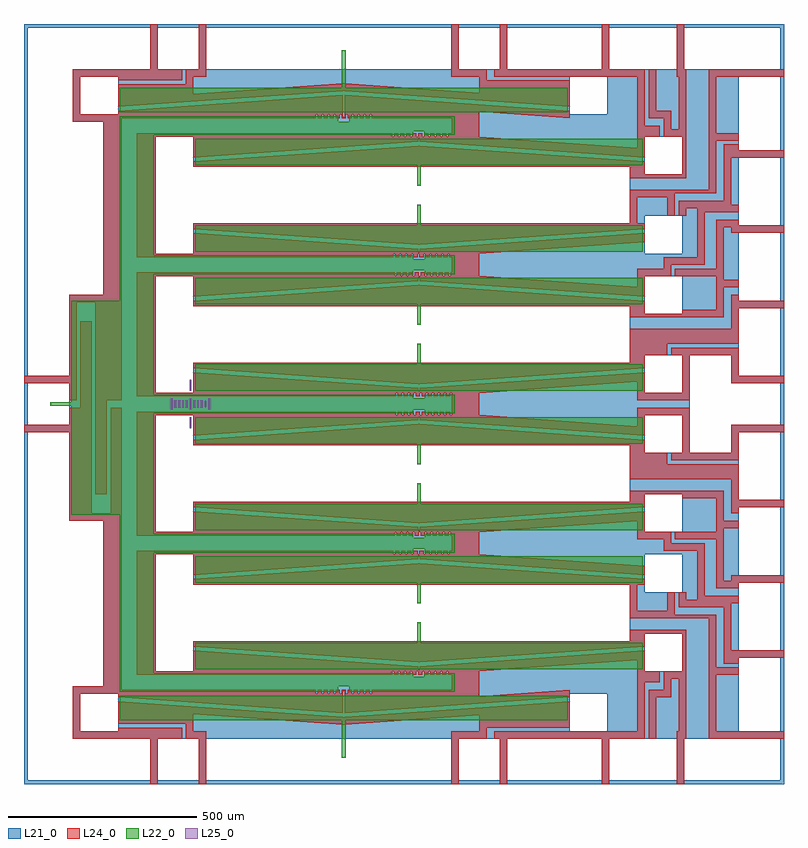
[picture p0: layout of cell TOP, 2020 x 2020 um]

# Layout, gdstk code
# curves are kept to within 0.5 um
import gdstk
lib = gdstk.Library(unit=1e-6, precision=1e-09)
def R(c, l, rs):  # rectangles x0, y0, x1, y1
    for r in rs: c.add(gdstk.rectangle(r[:2], r[2:], *l))
def A(c, l, x, y, w, h, nx, ny, dx, dy):  # array of equal rectangles
    R(c, l, [(x+i*dx, y+j*dy, x+i*dx+w, y+j*dy+h) for i in range(nx) for j in range(ny)])
def P(c, l, *ps):  # polygons
    for p in ps: c.add(gdstk.Polygon(p, *l))
L21_0 = (21, 0)
L22_0 = (22, 0)
L24_0 = (24, 0)
L25_0 = (25, 0)

top = lib.new_cell('TOP')
P(top, L21_0, [(190,190),(190,1125),(200,1125),(200,200),(525,200),(525,310),(545,310),(545,200),(655,200),(655,310),(675,310),(675,200),(1325,200),(1325,310),(1345,310),(1345,200),(1455,200),(1455,310),(1475,310),(1475,200),(1725,200),(1725,310),(1745,310),(1745,200),(1925,200),(1925,310),(1945,310),(1945,200),(2200,200),(2200,310),(320,310),(320,430),(340,430),(340,330),(440,330),(440,430),(1640,430),(1640,330),(1740,330),(1740,430),(320,430),(320,450),(400,450),(400,800),(540,800),(540,490),(640,490),(640,570),(1800,570),(1800,590),(1840,590),(1840,490),(1940,490),(1940,525),(2090,525),(2090,330),(2200,330),(2200,525),(1940,525),(1940,590),(1800,590),(1800,720),(640,720),(640,800),(1840,800),(1840,700),(1940,700),(1940,725),(2090,725),(2090,545),(2200,545),(2200,725),(1940,725),(1940,800),(400,800),(400,890),(310,890),(310,1125),(190,1125),(190,1255),(200,1255),(200,1145),(310,1145),(310,1170),(540,1170),(540,860),(640,860),(640,940),(1800,940),(1800,960),(1840,960),(1840,860),(1940,860),(1940,925),(2090,925),(2090,745),(2200,745),(2200,925),(1940,925),(1940,960),(1800,960),(1800,1090),(640,1090),(640,1170),(1840,1170),(1840,1070),(1940,1070),(1940,1170),(310,1170),(310,1255),(190,1255),(190,2200),(200,2200),(200,1275),(310,1275),(310,1490),(400,1490),(400,1540),(540,1540),(540,1230),(640,1230),(640,1310),(1800,1310),(1800,1330),(1840,1330),(1840,1230),(1940,1230),(1940,1330),(1960,1330),(1960,1070),(2070,1070),(2070,1125),(2090,1125),(2090,945),(2200,945),(2200,1125),(2070,1125),(2070,1145),(2200,1145),(2200,1255),(2070,1255),(2070,1330),(1800,1330),(1800,1460),(640,1460),(640,1540),(1840,1540),(1840,1440),(1940,1440),(1940,1455),(2090,1455),(2090,1275),(2200,1275),(2200,1455),(1940,1455),(1940,1540),(400,1540),(400,1910),(540,1910),(540,1600),(640,1600),(640,1680),(1800,1680),(1800,1700),(1840,1700),(1840,1600),(1940,1600),(1940,1655),(2090,1655),(2090,1475),(2200,1475),(2200,1655),(1940,1655),(1940,1700),(1800,1700),(1800,1830),(640,1830),(640,1910),(1840,1910),(1840,1810),(1940,1810),(1940,1855),(2090,1855),(2090,1675),(2200,1675),(2200,1855),(1940,1855),(1940,1910),(400,1910),(400,1950),(320,1950),(320,2070),(340,2070),(340,1970),(440,1970),(440,2070),(1640,2070),(1640,1970),(1740,1970),(1740,2070),(2090,2070),(2090,1875),(2200,1875),(2200,2070),(320,2070),(320,2090),(525,2090),(525,2200),(545,2200),(545,2090),(655,2090),(655,2200),(675,2200),(675,2090),(1325,2090),(1325,2200),(1345,2200),(1345,2090),(1455,2090),(1455,2200),(1475,2200),(1475,2090),(1725,2090),(1725,2200),(1745,2200),(1745,2090),(1925,2090),(1925,2200),(1945,2200),(1945,2090),(2200,2090),(2200,2200),(190,2200),(190,2210),(2210,2210),(2210,190)])
P(top, L22_0, [(445,435),(445,905),(315,905),(315,1195),(260,1195),(260,1205),(315,1205),(315,1475),(445,1475),(445,1965),(535,1965),(535,1964.5),(1025,1964.5),(1025,1950),(1055,1950),(1055,1965),(1335,1965),(1335,1915),(1253.7,1915),(1253.7,1925),(1225,1925),(1225,1915),(535,1915),(535,1595),(1225,1595),(1225,1585),(1255,1585),(1255,1595),(1335,1595),(1335,1545),(1255,1545),(1255,1555),(1225,1555),(1225,1545),(535,1545),(535,1225),(1225,1225),(1225,1215),(1255,1215),(1255,1225),(1335,1225),(1335,1175),(1255,1175),(1255,1185),(1225,1185),(1225,1175),(535,1175),(535,855),(1225,855),(1225,845),(1255,845),(1255,855),(1335,855),(1335,805),(1255,805),(1255,815),(1225,815),(1225,805),(535,805),(535,485),(1225,485),(1225,475),(1253.7,475),(1253.7,485),(1335,485),(1335,435),(1055,435),(1055,450),(1025,450),(1025,435.5),(535,435.5),(535,435)],
  [(1035,260),(1035,360),(445,360),(445,425),(1635,425),(1635,360),(1045,360),(1045,260)],
  [(445,1975),(445,2040),(1035,2040),(1035,2140),(1045,2140),(1045,2040),(1635,2040),(1635,1975)],
  [(645,495),(645,565),(1235,565),(1235,620),(1245,620),(1245,565),(1835,565),(1835,495)],
  [(1235,670),(1235,725),(645,725),(645,795),(1835,795),(1835,725),(1245,725),(1245,670)],
  [(645,865),(645,935),(1235,935),(1235,990),(1245,990),(1245,935),(1835,935),(1835,865)],
  [(1235,1040),(1235,1095),(645,1095),(645,1165),(1835,1165),(1835,1095),(1245,1095),(1245,1040)],
  [(645,1235),(645,1305),(1235,1305),(1235,1360),(1245,1360),(1245,1305),(1835,1305),(1835,1235)],
  [(1235,1410),(1235,1465),(645,1465),(645,1535),(1835,1535),(1835,1465),(1245,1465),(1245,1410)],
  [(645,1605),(645,1675),(1235,1675),(1235,1730),(1245,1730),(1245,1675),(1835,1675),(1835,1605)],
  [(1235,1780),(1235,1835),(645,1835),(645,1905),(1835,1905),(1835,1835),(1245,1835),(1245,1780)])
P(top, L24_0, [(525,190),(525,310),(320,310),(320,450),(400,450),(400,890),(310,890),(310,1125),(190,1125),(190,1145),(310,1145),(310,1190),(340,1190),(340,1420),(370,1420),(370,910),(420,910),(420,1190),(450,1190),(450,440),(965.5,440),(965.555,431.975),(966.399,430.579),(967.924,430),(969.482,430.485),(970.409,431.828),(970.5,440),(981.5,440),(981.559,431.954),(982.346,430.624),(983.921,430),(985.406,430.431),(986.402,431.802),(986.5,440),(997.5,440),(997.559,431.954),(998.346,430.624),(999.921,430),(1001.406,430.431),(1002.402,431.802),(1002.5,440),(1013.5,440),(1013.555,431.975),(1014.399,430.579),(1015.924,430),(1017.482,430.485),(1018.409,431.828),(1018.5,440),(1029.5,440),(1029.555,431.975),(1030.399,430.579),(1031.924,430),(1033.482,430.485),(1034.409,431.828),(1034.5,440),(1045.5,440),(1045.555,431.975),(1046.399,430.579),(1047.924,430),(1049.482,430.485),(1050.409,431.828),(1050.5,440),(1061.5,440),(1061.555,431.975),(1062.399,430.579),(1063.924,430),(1065.482,430.485),(1066.409,431.828),(1066.5,440),(1077.5,440),(1077.555,431.975),(1078.399,430.579),(1079.924,430),(1081.482,430.485),(1082.409,431.828),(1082.5,440),(1093.5,440),(1093.555,431.975),(1094.399,430.579),(1095.924,430),(1097.406,430.431),(1098.402,431.802),(1098.5,440),(1109.5,440),(1109.555,431.975),(1110.399,430.579),(1111.924,430),(1113.406,430.431),(1114.402,431.802),(1114.5,440),(1327.3,440),(1327.3,480),(1317.7,480),(1317.645,488.025),(1316.801,489.421),(1315.276,490),(1313.794,489.569),(1312.798,488.198),(1312.7,480),(1301.7,480),(1301.641,488.046),(1300.854,489.376),(1299.279,490),(1297.794,489.569),(1296.798,488.198),(1296.7,480),(1285.7,480),(1285.641,488.046),(1284.854,489.376),(1283.279,490),(1281.794,489.569),(1280.798,488.198),(1280.7,480),(1269.7,480),(1269.645,488.025),(1268.801,489.421),(1267.276,490),(1265.794,489.569),(1264.798,488.198),(1264.7,480),(1253.7,480),(1253.641,488.046),(1252.854,489.376),(1251.279,490),(1249.718,489.515),(1248.791,488.172),(1248.7,480),(1237.7,480),(1237.645,488.025),(1236.801,489.421),(1235.276,490),(1233.794,489.569),(1232.798,488.198),(1232.7,480),(1221.7,480),(1221.645,488.025),(1220.801,489.421),(1219.276,490),(1217.794,489.569),(1216.798,488.198),(1216.7,480),(1205.7,480),(1205.645,488.025),(1204.801,489.421),(1203.276,490),(1201.794,489.569),(1200.798,488.198),(1200.7,480),(1189.7,480),(1189.645,488.025),(1188.801,489.421),(1187.276,490),(1185.794,489.569),(1184.798,488.198),(1184.7,480),(1173.7,480),(1173.645,488.025),(1172.801,489.421),(1171.276,490),(1169.794,489.569),(1168.798,488.198),(1168.7,480),(490,480),(490,810),(1171.9,810),(1171.955,801.975),(1172.799,800.579),(1174.324,800),(1175.806,800.431),(1176.802,801.802),(1176.9,810),(1187.9,810),(1187.955,801.975),(1188.799,800.579),(1190.324,800),(1191.806,800.431),(1192.802,801.802),(1192.9,810),(1203.9,810),(1203.959,801.954),(1204.746,800.624),(1206.321,800),(1207.806,800.431),(1208.802,801.802),(1208.9,810),(1219.9,810),(1219.955,801.975),(1220.799,800.579),(1222.324,800),(1223.806,800.431),(1224.802,801.802),(1224.9,810),(1235.9,810),(1235.959,801.954),(1236.746,800.624),(1238.321,800),(1239.882,800.485),(1240.809,801.828),(1240.9,810),(1251.9,810),(1251.955,801.975),(1252.799,800.579),(1254.324,800),(1255.806,800.431),(1256.802,801.802),(1256.9,810),(1267.9,810),(1267.959,801.954),(1268.746,800.624),(1270.321,800),(1271.806,800.431),(1272.802,801.802),(1272.9,810),(1283.9,810),(1283.959,801.954),(1284.746,800.624),(1286.321,800),(1287.806,800.431),(1288.802,801.802),(1288.9,810),(1299.9,810),(1299.955,801.975),(1300.799,800.579),(1302.324,800),(1303.882,800.485),(1304.809,801.828),(1304.9,810),(1315.9,810),(1315.955,801.975),(1316.799,800.579),(1318.324,800),(1319.882,800.485),(1320.809,801.828),(1320.9,810),(1327.3,810),(1327.3,850),(1324.1,850),(1324.041,858.046),(1323.254,859.376),(1321.679,860),(1320.118,859.515),(1319.191,858.172),(1319.1,850),(1308.1,850),(1308.045,858.025),(1307.201,859.421),(1305.676,860),(1304.118,859.515),(1303.191,858.172),(1303.1,850),(1292.1,850),(1292.041,858.046),(1291.254,859.376),(1289.679,860),(1288.118,859.515),(1287.191,858.172),(1287.1,850),(1276.1,850),(1276.041,858.046),(1275.254,859.376),(1273.679,860),(1272.194,859.569),(1271.198,858.198),(1271.1,850),(1260.1,850),(1260.045,858.025),(1259.201,859.421),(1257.676,860),(1256.194,859.569),(1255.198,858.198),(1255.1,850),(1244.1,850),(1244.045,858.025),(1243.201,859.421),(1241.676,860),(1240.194,859.569),(1239.198,858.198),(1239.1,850),(1228.1,850),(1228.045,858.025),(1227.201,859.421),(1225.676,860),(1224.194,859.569),(1223.198,858.198),(1223.1,850),(1212.1,850),(1212.045,858.025),(1211.201,859.421),(1209.676,860),(1208.194,859.569),(1207.198,858.198),(1207.1,850),(1196.1,850),(1196.041,858.046),(1195.254,859.376),(1193.679,860),(1192.118,859.515),(1191.191,858.172),(1191.1,850),(1180.1,850),(1180.045,858.025),(1179.201,859.421),(1177.676,860),(1176.118,859.515),(1175.191,858.172),(1175.1,850),(490,850),(490,1180),(1178.3,1180),(1178.355,1171.975),(1179.199,1170.579),(1180.724,1170),(1182.206,1170.431),(1183.202,1171.802),(1183.3,1180),(1194.3,1180),(1194.355,1171.975),(1195.199,1170.579),(1196.724,1170),(1198.206,1170.431),(1199.202,1171.802),(1199.3,1180),(1210.3,1180),(1210.355,1171.975),(1211.199,1170.579),(1212.724,1170),(1214.206,1170.431),(1215.202,1171.802),(1215.3,1180),(1226.3,1180),(1226.355,1171.975),(1227.199,1170.579),(1228.724,1170),(1230.206,1170.431),(1231.202,1171.802),(1231.3,1180),(1242.3,1180),(1242.359,1171.954),(1243.146,1170.624),(1244.721,1170),(1246.282,1170.485),(1247.209,1171.828),(1247.3,1180),(1258.3,1180),(1258.359,1171.954),(1259.146,1170.624),(1260.721,1170),(1262.206,1170.431),(1263.202,1171.802),(1263.3,1180),(1274.3,1180),(1274.355,1171.975),(1275.199,1170.579),(1276.724,1170),(1278.206,1170.431),(1279.202,1171.802),(1279.3,1180),(1290.3,1180),(1290.359,1171.954),(1291.146,1170.624),(1292.721,1170),(1294.206,1170.431),(1295.202,1171.802),(1295.3,1180),(1306.3,1180),(1306.355,1171.975),(1307.199,1170.579),(1308.724,1170),(1310.206,1170.431),(1311.202,1171.802),(1311.3,1180),(1322.3,1180),(1322.7,1171.142),(1325.498,1170.098),(1327.3,1172.421),(1327.3,1227.576),(1326.621,1229.214),(1324.876,1230),(1323.394,1229.569),(1322.398,1228.198),(1322.3,1220),(1311.3,1220),(1311.245,1228.025),(1310.401,1229.421),(1308.876,1230),(1307.318,1229.515),(1306.391,1228.172),(1306.3,1220),(1295.3,1220),(1295.245,1228.025),(1294.401,1229.421),(1292.876,1230),(1291.318,1229.515),(1290.391,1228.172),(1290.3,1220),(1279.3,1220),(1279.245,1228.025),(1278.401,1229.421),(1276.876,1230),(1275.394,1229.569),(1274.398,1228.198),(1274.3,1220),(1263.3,1220),(1263.245,1228.025),(1262.401,1229.421),(1260.876,1230),(1259.394,1229.569),(1258.398,1228.198),(1258.3,1220),(1247.3,1220),(1247.245,1228.025),(1246.401,1229.421),(1244.876,1230),(1243.394,1229.569),(1242.398,1228.198),(1242.3,1220),(1231.3,1220),(1231.245,1228.025),(1230.401,1229.421),(1228.876,1230),(1227.394,1229.569),(1226.398,1228.198),(1226.3,1220),(1215.3,1220),(1215.241,1228.046),(1214.454,1229.376),(1212.879,1230),(1211.394,1229.569),(1210.398,1228.198),(1210.3,1220),(1199.3,1220),(1199.245,1228.025),(1198.401,1229.421),(1196.876,1230),(1195.394,1229.569),(1194.398,1228.198),(1194.3,1220),(1183.3,1220),(1183.245,1228.025),(1182.401,1229.421),(1180.876,1230),(1179.318,1229.515),(1178.391,1228.172),(1178.3,1220),(490,1220),(490,1550),(1175.1,1550),(1175.155,1541.975),(1175.999,1540.579),(1177.524,1540),(1179.082,1540.485),(1180.009,1541.828),(1180.1,1550),(1191.1,1550),(1191.155,1541.975),(1191.999,1540.579),(1193.524,1540),(1195.082,1540.485),(1196.009,1541.828),(1196.1,1550),(1207.1,1550),(1207.155,1541.975),(1207.999,1540.579),(1209.524,1540),(1211.082,1540.485),(1212.009,1541.828),(1212.1,1550),(1223.1,1550),(1223.159,1541.954),(1223.946,1540.624),(1225.521,1540),(1227.082,1540.485),(1228.009,1541.828),(1228.1,1550),(1239.1,1550),(1239.155,1541.975),(1239.999,1540.579),(1241.524,1540),(1243.006,1540.431),(1244.002,1541.802),(1244.1,1550),(1255.1,1550),(1255.159,1541.954),(1255.946,1540.624),(1257.521,1540),(1259.006,1540.431),(1260.002,1541.802),(1260.1,1550),(1271.1,1550),(1271.159,1541.954),(1271.946,1540.624),(1273.521,1540),(1275.006,1540.431),(1276.002,1541.802),(1276.1,1550),(1287.1,1550),(1287.159,1541.954),(1287.946,1540.624),(1289.521,1540),(1291.006,1540.431),(1292.002,1541.802),(1292.1,1550),(1303.1,1550),(1303.155,1541.975),(1303.999,1540.579),(1305.524,1540),(1307.082,1540.485),(1308.009,1541.828),(1308.1,1550),(1319.1,1550),(1319.191,1541.828),(1320.118,1540.485),(1321.676,1540),(1323.201,1540.579),(1324.045,1541.975),(1324.1,1550),(1327.3,1550),(1327.3,1590),(1320.9,1590),(1320.841,1598.046),(1320.054,1599.376),(1318.479,1600),(1316.994,1599.569),(1315.998,1598.198),(1315.9,1590),(1304.9,1590),(1304.845,1598.025),(1304.001,1599.421),(1302.476,1600),(1300.994,1599.569),(1299.998,1598.198),(1299.9,1590),(1288.9,1590),(1288.845,1598.025),(1288.001,1599.421),(1286.476,1600),(1284.918,1599.515),(1283.991,1598.172),(1283.9,1590),(1272.9,1590),(1272.845,1598.025),(1272.001,1599.421),(1270.476,1600),(1268.994,1599.569),(1267.998,1598.198),(1267.9,1590),(1256.9,1590),(1256.841,1598.046),(1256.054,1599.376),(1254.479,1600),(1252.994,1599.569),(1251.998,1598.198),(1251.9,1590),(1240.9,1590),(1240.841,1598.046),(1240.054,1599.376),(1238.479,1600),(1236.918,1599.515),(1235.991,1598.172),(1235.9,1590),(1224.9,1590),(1224.841,1598.046),(1224.054,1599.376),(1222.479,1600),(1220.994,1599.569),(1219.998,1598.198),(1219.9,1590),(1208.9,1590),(1208.841,1598.046),(1208.054,1599.376),(1206.479,1600),(1204.994,1599.569),(1203.998,1598.198),(1203.9,1590),(1192.9,1590),(1192.841,1598.046),(1192.054,1599.376),(1190.479,1600),(1188.994,1599.569),(1187.998,1598.198),(1187.9,1590),(1176.9,1590),(1176.841,1598.046),(1176.054,1599.376),(1174.479,1600),(1172.994,1599.569),(1171.998,1598.198),(1171.9,1590),(490,1590),(490,1920),(1168.7,1920),(1168.759,1911.954),(1169.546,1910.624),(1171.121,1910),(1172.606,1910.431),(1173.602,1911.802),(1173.7,1920),(1184.7,1920),(1184.755,1911.975),(1185.599,1910.579),(1187.124,1910),(1188.606,1910.431),(1189.602,1911.802),(1189.7,1920),(1200.7,1920),(1200.755,1911.975),(1201.599,1910.579),(1203.124,1910),(1204.606,1910.431),(1205.602,1911.802),(1205.7,1920),(1216.7,1920),(1216.755,1911.975),(1217.599,1910.579),(1219.124,1910),(1220.606,1910.431),(1221.602,1911.802),(1221.7,1920),(1232.7,1920),(1232.755,1911.975),(1233.599,1910.579),(1235.124,1910),(1236.606,1910.431),(1237.602,1911.802),(1237.7,1920),(1248.7,1920),(1248.759,1911.954),(1249.546,1910.624),(1251.121,1910),(1252.606,1910.431),(1253.602,1911.802),(1253.7,1920),(1264.7,1920),(1264.755,1911.975),(1265.599,1910.579),(1267.124,1910),(1268.606,1910.431),(1269.602,1911.802),(1269.7,1920),(1280.7,1920),(1280.755,1911.975),(1281.599,1910.579),(1283.124,1910),(1284.682,1910.485),(1285.609,1911.828),(1285.7,1920),(1296.7,1920),(1296.755,1911.975),(1297.599,1910.579),(1299.124,1910),(1300.606,1910.431),(1301.602,1911.802),(1301.7,1920),(1312.7,1920),(1312.791,1911.828),(1313.718,1910.485),(1315.279,1910),(1316.854,1910.624),(1317.641,1911.954),(1317.7,1920),(1327.3,1920),(1327.3,1960),(1114.5,1960),(1114.445,1968.025),(1113.601,1969.421),(1112.076,1970),(1110.594,1969.569),(1109.598,1968.198),(1109.5,1960),(1098.5,1960),(1098.441,1968.046),(1097.654,1969.376),(1096.079,1970),(1094.594,1969.569),(1093.598,1968.198),(1093.5,1960),(1082.5,1960),(1082.441,1968.046),(1081.654,1969.376),(1080.079,1970),(1078.594,1969.569),(1077.598,1968.198),(1077.5,1960),(1066.5,1960),(1066.445,1968.025),(1065.601,1969.421),(1064.076,1970),(1062.594,1969.569),(1061.598,1968.198),(1061.5,1960),(1050.5,1960),(1050.441,1968.046),(1049.654,1969.376),(1048.079,1970),(1046.594,1969.569),(1045.598,1968.198),(1045.5,1960),(1034.5,1960),(1034.445,1968.025),(1033.601,1969.421),(1032.076,1970),(1030.594,1969.569),(1029.598,1968.198),(1029.5,1960),(1018.5,1960),(1018.441,1968.046),(1017.654,1969.376),(1016.079,1970),(1014.594,1969.569),(1013.598,1968.198),(1013.5,1960),(1002.5,1960),(1002.445,1968.025),(1001.601,1969.421),(1000.076,1970),(998.518,1969.515),(997.591,1968.172),(997.5,1960),(986.5,1960),(986.441,1968.046),(985.654,1969.376),(984.079,1970),(982.518,1969.515),(981.591,1968.172),(981.5,1960),(970.5,1960),(970.441,1968.046),(969.654,1969.376),(968.079,1970),(966.594,1969.569),(965.598,1968.198),(965.5,1960),(450,1960),(450,1210),(410,1210),(410,960),(380,960),(380,1470),(330,1470),(330,1210),(310,1210),(310,1255),(190,1255),(190,1275),(310,1275),(310,1490),(400,1490),(400,1950),(320,1950),(320,2090),(525,2090),(525,2210),(545,2210),(545,2090),(610,2090),(610,2060),(440,2060),(440,2070),(340,2070),(340,1970),(440,1970),(440,1980),(1037.5,2021.781),(1037.5,1965.424),(1038.399,1963.579),(1040.235,1963.01),(1041.769,1963.731),(1042.5,1965.421),(1042.5,2021.781),(1640,1980),(1640,1960),(1400,1976.782),(1400,1910.838),(1820,1881.468),(1820,2070),(1440,2070),(1440,2090),(1455,2090),(1455,2210),(1475,2210),(1475,2090),(1725,2090),(1725,2210),(1745,2210),(1745,2090),(1840,2090),(1840,1940),(1880,1940),(1880,1910),(1840,1910),(1840,1855.07),(1242.5,1896.851),(1242.445,1905.025),(1241.601,1906.421),(1240.076,1907),(1238.518,1906.515),(1237.591,1905.172),(1237.5,1896.851),(640,1855.07),(640,1910),(540,1910),(540,1600),(640,1600),(640,1654.93),(1237.5,1613.149),(1237.559,1604.954),(1238.346,1603.624),(1239.921,1603),(1241.533,1603.524),(1242.441,1604.954),(1242.5,1613.149),(1840,1654.93),(1840,1629.93),(1400,1599.162),(1400,1540.838),(1820,1511.468),(1820,1560),(1890,1560),(1890,1590),(1980,1590),(1980,1720),(1950,1720),(1950,1700),(1930,1700),(1930,1740),(2050,1740),(2050,1890),(2090,1890),(2090,1875),(2210,1875),(2210,1855),(2070,1855),(2070,1730),(2090,1730),(2090,1710),(2000,1710),(2000,1570),(1910,1570),(1910,1540),(1840,1540),(1840,1485.07),(1242.5,1526.851),(1242.445,1535.025),(1241.601,1536.421),(1240.076,1537),(1238.467,1536.476),(1237.559,1535.046),(1237.5,1526.851),(640,1485.07),(640,1540),(540,1540),(540,1230),(640,1230),(640,1284.93),(1237.5,1243.149),(1237.559,1234.954),(1238.346,1233.624),(1239.921,1233),(1241.482,1233.485),(1242.409,1234.828),(1242.5,1243.149),(1840,1284.93),(1840,1230),(1940,1230),(1940,1330),(1910,1330),(1910,1350),(2090,1350),(2090,1275),(2210,1275),(2210,1255),(2070,1255),(2070,1330),(1960,1330),(1960,1210),(1820,1210),(1820,1258.532),(1400,1229.162),(1400,1170.838),(1820,1141.468),(1820,1190),(1960,1190),(1960,1070),(2070,1070),(2070,1145),(2210,1145),(2210,1125),(2090,1125),(2090,1050),(1910,1050),(1910,1070),(1940,1070),(1940,1170),(1840,1170),(1840,1115.07),(1242.5,1156.851),(1242.445,1165.025),(1241.601,1166.421),(1240.076,1167),(1238.518,1166.515),(1237.591,1165.172),(1237.5,1156.851),(640,1115.07),(640,1170),(540,1170),(540,860),(640,860),(640,914.93),(1237.5,873.149),(1237.559,864.954),(1238.346,863.624),(1239.921,863),(1241.482,863.485),(1242.409,864.828),(1242.5,873.149),(1840,914.93),(1840,860),(1910,860),(1910,830),(2000,830),(2000,690),(2090,690),(2090,670),(2070,670),(2070,545),(2210,545),(2210,525),(2090,525),(2090,510),(2050,510),(2050,660),(1930,660),(1930,700),(1950,700),(1950,680),(1980,680),(1980,810),(1890,810),(1890,840),(1820,840),(1820,888.532),(1400,859.162),(1400,800.838),(1840,770.07),(1840,745.07),(1242.5,786.851),(1242.445,795.025),(1241.601,796.421),(1240.076,797),(1238.518,796.515),(1237.591,795.172),(1237.5,786.851),(640,745.07),(640,800),(540,800),(540,490),(640,490),(640,544.93),(1237.5,503.149),(1237.555,494.975),(1238.399,493.579),(1239.924,493),(1241.533,493.524),(1242.441,494.954),(1242.5,503.149),(1840,544.93),(1840,490),(1880,490),(1880,460),(1840,460),(1840,310),(1745,310),(1745,190),(1725,190),(1725,310),(1475,310),(1475,190),(1455,190),(1455,310),(1440,310),(1440,330),(1820,330),(1820,518.532),(1400,489.162),(1400,423.218),(1640,440),(1640,420),(1042.5,378.219),(1042.5,434.576),(1041.821,436.214),(1040.226,436.991),(1038.346,436.376),(1037.5,434.579),(1037.5,378.219),(440,420),(440,430),(340,430),(340,330),(440,330),(440,340),(610,340),(610,310),(545,310),(545,190)],
  [(655,190),(655,310),(620,310),(620,350),(440,350),(440,409.976),(1037.5,368),(1640,409.976),(1640,340),(1420,340),(1420,310),(1345,310),(1345,190),(1325,190),(1325,330),(1400,330),(1400,373.193),(1037.5,347),(640,375.99),(640,330),(675,330),(675,190)],
  [(440,1990.024),(440,2050),(620,2050),(620,2090),(655,2090),(655,2210),(675,2210),(675,2070),(640,2070),(640,2024.01),(1037.5,2053),(1400,2026.807),(1400,2070),(1325,2070),(1325,2210),(1345,2210),(1345,2090),(1420,2090),(1420,2060),(1640,2060),(1640,1990.024),(1042.5,2032)],
  [(1925,190),(1925,330),(1930,330),(1930,470),(1910,470),(1910,420),(1870,420),(1870,310),(1850,310),(1850,440),(1890,440),(1890,490),(1940,490),(1940,590),(1840,590),(1840,554.954),(1241.773,513),(640,554.954),(640,570),(1800,570),(1800,600),(1950,600),(1950,310),(1945,310),(1945,190)],
  [(2010,310),(2010,630),(1800,630),(1800,720),(640,720),(640,735.046),(1238.227,777),(1840,735.046),(1840,720),(1820,720),(1820,650),(1900,650),(1900,700),(1920,700),(1920,640),(2030,640),(2030,500),(2090,500),(2090,480),(2030,480),(2030,330),(2210,330),(2210,310)],
  [(2030,710),(2030,840),(1920,840),(1920,860),(2030,860),(2030,950),(1940,950),(1940,960),(1840,960),(1840,924.954),(1241.773,883),(640,924.954),(640,940),(1800,940),(1800,970),(2050,970),(2050,890),(2090,890),(2090,870),(2050,870),(2050,730),(2070,730),(2070,745),(2210,745),(2210,725),(2090,725),(2090,710)],
  [(2070,910),(2070,1000),(1800,1000),(1800,1090),(640,1090),(640,1105.046),(1238.227,1147),(1840,1105.046),(1840,1070),(1900,1070),(1900,1040),(2090,1040),(2090,945),(2210,945),(2210,925),(2090,925),(2090,910)],
  [(1238.227,1253),(640,1294.954),(640,1310),(1800,1310),(1800,1400),(2070,1400),(2070,1490),(2090,1490),(2090,1475),(2210,1475),(2210,1455),(2090,1455),(2090,1360),(1900,1360),(1900,1330),(1840,1330),(1840,1294.954)],
  [(1800,1430),(1800,1460),(640,1460),(640,1475.046),(1241.773,1517),(1840,1475.046),(1840,1440),(1940,1440),(1940,1450),(2030,1450),(2030,1540),(1920,1540),(1920,1560),(2030,1560),(2030,1690),(2090,1690),(2090,1675),(2210,1675),(2210,1655),(2070,1655),(2070,1670),(2050,1670),(2050,1530),(2090,1530),(2090,1510),(2050,1510),(2050,1430)],
  [(1238.227,1623),(640,1664.954),(640,1680),(1800,1680),(1800,1770),(2010,1770),(2010,2090),(2210,2090),(2210,2070),(2030,2070),(2030,1920),(2090,1920),(2090,1900),(2030,1900),(2030,1760),(1920,1760),(1920,1700),(1900,1700),(1900,1750),(1820,1750),(1820,1680),(1840,1680),(1840,1664.954)],
  [(1800,1800),(1800,1830),(640,1830),(640,1845.046),(1241.773,1887),(1840,1845.046),(1840,1810),(1940,1810),(1940,1910),(1890,1910),(1890,1960),(1850,1960),(1850,2090),(1870,2090),(1870,1980),(1910,1980),(1910,1930),(1930,1930),(1930,2070),(1925,2070),(1925,2210),(1945,2210),(1945,2090),(1950,2090),(1950,1800)])
A(top, L25_0, 580, 1185, 5, 30, 3, 1, 50, 0)
A(top, L25_0, 590, 1190, 5, 20, 4, 1, 10, 0)
A(top, L25_0, 640, 1190, 5, 20, 4, 1, 10, 0)
R(top, L25_0, [(630,1135,635,1165), (630,1235,635,1265)])

lib.write_gds('TOP.gds')
